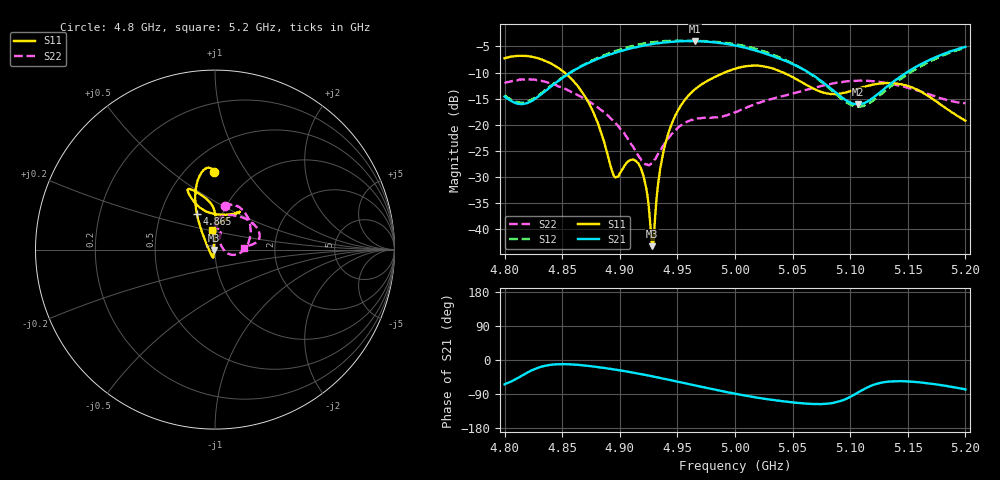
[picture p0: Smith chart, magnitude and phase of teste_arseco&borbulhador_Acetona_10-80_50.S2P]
! Network Analyzer HP8722D
! Hewlett-Packard
! Data name: Linha & Wilkinson
! Saver's name: Rodrigo Anjos
! Comments: Teste da utilização de aquisição
! continua pelo VNA HP8722D
! Time and date: 25/4/2025 15:41
!  Frequency  S11  S21  S12  S22
# HZ  S  MA R 50
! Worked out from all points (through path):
!   401 points, 4.8 GHz to 5.2 GHz, reference 50 ohm
!   highest |S21| = -3.95 dB at 4.965 GHz (marker M1); lowest = -16.1 dB at 5.107 GHz (marker M2)
!   lowest |S11| = -43.3 dB at 4.928 GHz (marker M3), VSWR 1.01, Z = 49.4 - j0.233 ohm
!   |S11| at or under -10 dB: 4.852 GHz to 4.991 GHz (139.1 MHz wide, 2.83 % of centre); 5.042 GHz to end of sweep
!   |S22| runs from -27.8 to -11.3 dB; largest |S21 - S12| = 1.2
!   S11 on the Smith chart (normalised r, x): 4.8 GHz: 0.68, +0.72; 4.865 GHz: 0.76, +0.32; 5.2 GHz: 0.94, +0.21
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4.8e9  0.4333 90.5  0.1862 -64.0  0.1916 69.6  0.2495 77.7
4.821e9  0.4533 97.2  0.1638 -31.2  0.1684 99.7  0.272 61.3
4.865e9  0.2227 116.9  0.3534 -13.1  0.3586 120.9  0.1881 11.0
4.867e9  0.2073 118.1  0.3636 -13.8  0.3678 120.8  0.1829 8.7
4.88e9  0.11 128.4  0.4235 -18.5  0.4332 118.3  0.1491 -5.4
4.895e9  0.03195 -172.6  0.4868 -24.8  0.5032 113.7  0.1071 -16.0
4.91e9  0.04599 -104.5  0.5403 -32.5  0.5655 107.2  0.06442 -14.2
4.918e9  0.03901 -101.9  0.5644 -37.1  0.5928 103.0  0.04735 1.4
4.923e9  0.02441 -106.1  0.5788 -40.0  0.6074 100.0  0.04138 20.1
4.928e9  0.006824 -159.7  0.5934 -43.0  0.6181 97.1  0.04254 41.1
4.93e9  0.01021 124.1  0.5978 -44.1  0.6218 95.8  0.04607 47.9
4.934e9  0.03094 98.4  0.6047 -46.8  0.6295 93.3  0.05449 57.6
4.939e9  0.06217 92.1  0.6153 -49.9  0.6356 90.0  0.06611 66.1
4.945e9  0.1014 89.7  0.6231 -53.8  0.6404 86.3  0.0815 70.0
4.965e9  0.2168 90.8  0.6347 -67.0  0.6374 73.6  0.1132 71.8
5e9  0.3439 109.0  0.5748 -89.0  0.5946 50.8  0.1312 88.7
5.031e9  0.3503 115.0  0.4616 -104.8  0.4778 33.4  0.1753 84.7
5.067e9  0.2255 105.1  0.3022 -116.0  0.2994 23.6  0.2226 57.2
5.107e9  0.2222 63.6  0.1565 -85.4  0.1483 57.7  0.264 24.2
5.134e9  0.2503 56.9  0.2413 -56.7  0.2265 88.6  0.2483 12.4
5.171e9  0.1783 70.9  0.4288 -62.8  0.4118 84.1  0.1912 6.9
5.2e9  0.1092 99.9  0.5567 -77.6  0.5454 70.1  0.1609 3.8
